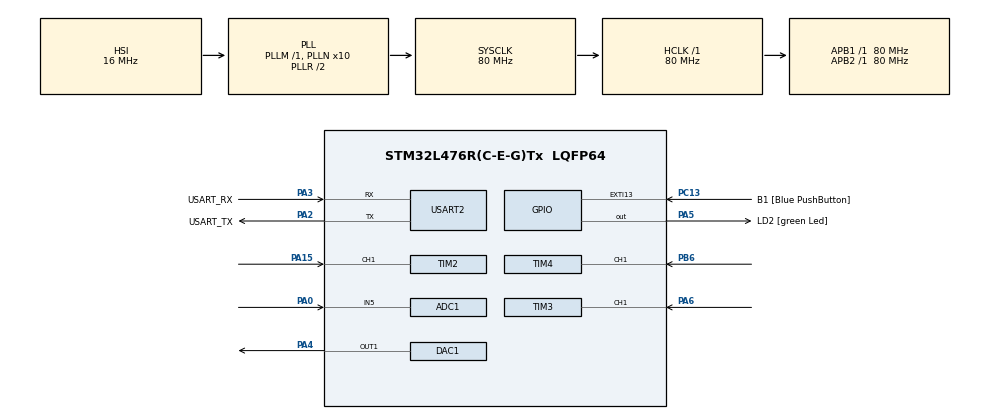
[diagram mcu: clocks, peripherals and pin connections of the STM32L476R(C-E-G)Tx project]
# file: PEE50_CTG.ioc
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Mcu.Family=STM32L4
PA2.GPIO_PuPd=GPIO_NOPULL
RCC.CortexFreq_Value=80000000
TIM2.Channel-Input_Capture1_from_TI1=TIM_CHANNEL_1
PH0-OSC_IN\ (PH0).Signal=RCC_OSC_IN
PA3.GPIO_PuPd=GPIO_NOPULL
PA2.GPIO_Speed=GPIO_SPEED_FREQ_VERY_HIGH
PA15\ (JTDI).Signal=S_TIM2_CH1
PC13.GPIO_Label=B1 [Blue PushButton]
PA3.GPIO_Speed=GPIO_SPEED_FREQ_VERY_HIGH
RCC.SYSCLKSource=RCC_SYSCLKSOURCE_PLLCLK
ProjectManager.StackSize=0x400
PB3\ (JTDO-TRACESWO).Signal=SYS_JTDO-SWO
TIM4.Channel-Input_Capture1_from_TI1=TIM_CHANNEL_1
NVIC.DMA1_Channel3_IRQn=true\:0\:0\:false\:false\:true\:false\:true
PA14\ (JTCK-SWCLK).Signal=SYS_JTCK-SWCLK
Dma.DAC_CH1.0.Instance=DMA1_Channel3
RCC.HCLKFreq_Value=80000000
RCC.APB2TimFreq_Value=80000000
TIM3.Period=20000
PB6.Signal=S_TIM4_CH1
RCC.AHBFreq_Value=80000000
RCC.PREFETCH_ENABLE=1
TIM3.ClockDivision=TIM_CLOCKDIVISION_DIV4
ADC1.Channel-0\#ChannelRegularConversion=ADC_CHANNEL_5
RCC.HSE_VALUE=8000000
TIM3.Channel-Input_Capture1_from_TI1=TIM_CHANNEL_1
USART2.VirtualMode-Asynchronous=VM_ASYNC
TIM3.Prescaler=0
PA5.GPIO_PuPd=GPIO_NOPULL
PC13.GPIO_PuPd=GPIO_NOPULL
Dma.DAC_CH1.0.PeriphDataAlignment=DMA_PDATAALIGN_WORD
SH.S_TIM3_CH1.0=TIM3_CH1,Input_Capture1_from_TI1
TIM4.Period=8000
ADC1.SamplingTime-0\#ChannelRegularConversion=ADC_SAMPLETIME_2CYCLES_5
PA0.Signal=ADCx_IN5
Mcu.Package=LQFP64
TIM2.Prescaler=0
TIM3.ICPrescaler-Input_Capture1_from_TI1=TIM_ICPSC_DIV1
PA6.Signal=S_TIM3_CH1
PA2.GPIO_Label=USART_TX
Dma.DAC_CH1.0.Priority=DMA_PRIORITY_HIGH
TIM2.TIM_MasterOutputTrigger=TIM_TRGO_UPDATE
SH.S_TIM4_CH1.0=TIM4_CH1,Input_Capture1_from_TI1
RCC.APB1TimFreq_Value=80000000
PA13\ (JTMS-SWDIO).Signal=SYS_JTMS-SWDIO
Dma.Request0=DAC_CH1
VP_TIM3_VS_ClockSourceINT.Mode=Internal
PA3.Signal=USART2_RX
PA2.GPIO_Mode=GPIO_MODE_AF_PP
RCC.MSI_VALUE=4000000
RCC.PLLSourceVirtual=RCC_PLLSOURCE_HSI
Dma.DAC_CH1.0.Mode=DMA_CIRCULAR
Dma.DAC_CH1.0.MemDataAlignment=DMA_MDATAALIGN_WORD
TIM4.AutoReloadPreload=TIM_AUTORELOAD_PRELOAD_ENABLE
SH.S_TIM2_CH1.0=TIM2_CH1,Input_Capture1_from_TI1
ADC1.Rank-0\#ChannelRegularConversion=1
TIM3.AutoReloadPreload=TIM_AUTORELOAD_PRELOAD_ENABLE
ADC1.OffsetNumber-0\#ChannelRegularConversion=ADC_OFFSET_NONE
PC13.Signal=GPXTI13
PC15-OSC32_OUT\ (PC15).Signal=RCC_OSC32_OUT
PA14\ (JTCK-SWCLK).GPIO_Label=TCK
PB3\ (JTDO-TRACESWO).GPIO_Label=SWO
PH1-OSC_OUT\ (PH1).Signal=RCC_OSC_OUT
PA3.Mode=Asynchronous
Dma.DAC_CH1.0.Direction=DMA_MEMORY_TO_PERIPH
ProjectManager.TargetToolchain=STM32CubeIDE
PA3.GPIO_Mode=GPIO_MODE_AF_PP
SH.COMP_DAC11_group.0=DAC1_OUT1,DAC_OUT1
Dma.DAC_CH1.0.MemInc=DMA_MINC_ENABLE
RCC.USBFreq_Value=64000000
TIM4.Prescaler=20000
RCC.LSE_VALUE=32768
PA5.Signal=GPIO_Output
board=NUCLEO-L476RG
RCC.VCOOutputFreq_Value=160000000
NVIC.TIM3_IRQn=true\:0\:0\:false\:false\:true\:true\:true
RCC.APB2Freq_Value=80000000
PA5.GPIO_ModeDefaultOutputPP=GPIO_MODE_OUTPUT_PP
PA13\ (JTMS-SWDIO).GPIO_Label=TMS
TIM4.ClockDivision=TIM_CLOCKDIVISION_DIV4
VP_TIM2_VS_ClockSourceINT.Mode=Internal
RCC.ADCFreq_Value=64000000
DAC1.DAC_Trigger-DAC_OUT1=DAC_TRIGGER_T2_TRGO
TIM2.Period=24
Mcu.Name=STM32L476R(C-E-G)Tx
PA2.Signal=USART2_TX
Dma.DAC_CH1.0.PeriphInc=DMA_PINC_DISABLE
PA4.Signal=COMP_DAC11_group
RCC.SYSCLKFreq_VALUE=80000000
ADC1.master=1
PA5.GPIO_Label=LD2 [green Led]
PC13.GPIO_ModeDefaultEXTI=GPIO_MODE_IT_FALLING
PC14-OSC32_IN\ (PC14).Signal=RCC_OSC32_IN
ProjectManager.HeapSize=0x200
RCC.HSI_VALUE=16000000
SH.ADCx_IN5.0=ADC1_IN5,IN5-Single-Ended
VP_TIM4_VS_ClockSourceINT.Mode=Internal
PA5.GPIO_Speed=GPIO_SPEED_FREQ_LOW
NVIC.PriorityGroup=NVIC_PRIORITYGROUP_4
ADC1.NbrOfConversionFlag=1
RCC.PLLN=10
PA2.Mode=Asynchronous
TIM2.AutoReloadPreload=TIM_AUTORELOAD_PRELOAD_ENABLE
NVIC.TIM4_IRQn=true\:0\:0\:false\:false\:true\:true\:true
RCC.APB1Freq_Value=80000000
PA3.GPIO_Label=USART_RX

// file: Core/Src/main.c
/* USER CODE BEGIN Header */
/**
  ******************************************************************************
  * @file           : main.c
  * @brief          : Main program body
  ******************************************************************************
  * @attention
  *
  * <h2><center>&copy; Copyright (c) 2021 STMicroelectronics.
  * All rights reserved.</center></h2>
  *
  * This software component is licensed by ST under BSD 3-Clause license,
  * the "License"; You may not use this file except in compliance with the
  * License. You may obtain a copy of the License at:
  *                        opensource.org/licenses/BSD-3-Clause
  *
  ******************************************************************************
  */
/* USER CODE END Header */
#include "main.h"

/* USER CODE BEGIN Includes */
#include <ctg.h>
#include <stdio.h>
#include <string.h>
#include <stdbool.h>
#include <stdlib.h>
/* USER CODE END Includes */

/* USER CODE BEGIN PD */

/* timeconstants in ms for calculating averages */
#define FREQ 38
#define AVG	100

/* USER CODE END PD */

ADC_HandleTypeDef hadc1;

DAC_HandleTypeDef hdac1;
DMA_HandleTypeDef hdma_dac_ch1;

TIM_HandleTypeDef htim2;
TIM_HandleTypeDef htim3;
TIM_HandleTypeDef htim4;

UART_HandleTypeDef huart2;

/* USER CODE BEGIN PV */

/* queue structure variables */
struct queue* filter;
struct queue* center;

/* voltage variables */
float voltage = 0;
float avg_voltage = 0;
float center_voltage = 0;

/* time-keeping variables */
uint32_t new_time = 0;
uint32_t current_time = 0;
uint32_t previous_time = 0;

bool bHeart = false;
bool bDelayed_start = true;

int i = 0;

/* bpm variables */
uint32_t bpm = 0;

/* USER CODE END PV */

void SystemClock_Config(void);
static void MX_GPIO_Init(void);
static void MX_DMA_Init(void);
static void MX_DAC1_Init(void);
static void MX_TIM2_Init(void);
static void MX_USART2_UART_Init(void);
static void MX_ADC1_Init(void);
static void MX_TIM3_Init(void);
static void MX_TIM4_Init(void);
/* USER CODE BEGIN PFP */

/* Timer interrupt for heart rate and respitory rate */
void HAL_TIM_PeriodElapsedCallback(TIM_HandleTypeDef *htim)
{
	/* Every 1ms it will go in this interrupt. */
	/* uart send rate is equal to the timer 4 freq */
	if(htim == &htim4) { bHeart = true; }

	/* read adc */
	ctg_read_adc(&hadc1,&voltage);

	/* add voltage to queue and calculate average */
	shift_queue(filter, voltage);
	get_average(filter, &avg_voltage);

	i++;

	/* add voltage every 20 ms to calculate center average */
	if(i % 20 == 0) { shift_queue(center, avg_voltage); }

	/* raw heartsignal needs to be centered at 0V first.
	 * add a 2 second delay in sending data
	 * after two seconds the signal is centered */
	if(i % 2000 == 0 && bDelayed_start) { bDelayed_start = false; i = 0; }

	/* calculate average voltage */
	get_average(center, &center_voltage);

	/* center voltage to 0 V */
	avg_voltage -= center_voltage;

#define A 0
#if A == 0
	char array[14];
	sprintf(array,"%.2f",avg_voltage);
	ctg_print(&huart2, array);
	strncpy(array,"            ",14);
#elif A == 1
	char array[14];
	sprintf(array,"%.4f",avg_max);
	ctg_print(&huart2, array);
	strncpy(array,"            ",14);
#endif

	if(avg_voltage > 0.3)
	{
		new_time = HAL_GetTick();
		current_time = new_time - previous_time;
		if(current_time > 500)
		{
			previous_time = new_time;
			if(bHeart)
			{
				bpm = (1.0 / (current_time / 1000.0) ) * 60;
				char array[7];
				sprintf(array,"H%lu",bpm);
				ctg_print(&huart2, array);
				strncpy(array,"",7);
				bpm = 0;
				bHeart = false;
			}
		}
	}
}
/* USER CODE END PFP */

int main(void)
{
  /* USER CODE BEGIN 1 */
  filter = create_queue(FREQ);
  center = create_queue(AVG);
  /* USER CODE END 1 */

  /* MCU Configuration--------------------------------------------------------*/

  /* Reset of all peripherals, Initializes the Flash interface and the Systick. */
  HAL_Init();

  /* Configure the system clock */
  SystemClock_Config();

  /* Initialize all configured peripherals */
  MX_GPIO_Init();
  MX_DMA_Init();
  MX_DAC1_Init();
  MX_TIM2_Init();
  MX_USART2_UART_Init();
  MX_ADC1_Init();
  MX_TIM3_Init();
  MX_TIM4_Init();
  /* USER CODE BEGIN 2 */

  /* start dac with dma */
  HAL_DAC_Start_DMA(&hdac1, DAC_CHANNEL_1, (uint32_t*)sinewave32, 32, DAC_ALIGN_12B_R);

  /* start timer for dma */
  HAL_TIM_Base_Start_IT(&htim2);

  /* start timer with interrupt */
  HAL_TIM_Base_Start_IT(&htim3);

  /* start timer for uart sending*/
  HAL_TIM_Base_Start_IT(&htim4);

  /* test print */
  ctg_print(&huart2, "PEE50 cardiotacograph");

  /* USER CODE END 2 */

  /* Infinite loop */
  while (1)
  {

  }
}

void SystemClock_Config(void)
{
  RCC_OscInitTypeDef RCC_OscInitStruct = {0};
  RCC_ClkInitTypeDef RCC_ClkInitStruct = {0};
  RCC_PeriphCLKInitTypeDef PeriphClkInit = {0};

  /** Initializes the RCC Oscillators according to the specified parameters
  * in the RCC_OscInitTypeDef structure.
  */
  RCC_OscInitStruct.OscillatorType = RCC_OSCILLATORTYPE_HSI;
  RCC_OscInitStruct.HSIState = RCC_HSI_ON;
  RCC_OscInitStruct.HSICalibrationValue = RCC_HSICALIBRATION_DEFAULT;
  RCC_OscInitStruct.PLL.PLLState = RCC_PLL_ON;
  RCC_OscInitStruct.PLL.PLLSource = RCC_PLLSOURCE_HSI;
  RCC_OscInitStruct.PLL.PLLM = 1;
  RCC_OscInitStruct.PLL.PLLN = 10;
  RCC_OscInitStruct.PLL.PLLP = RCC_PLLP_DIV7;
  RCC_OscInitStruct.PLL.PLLQ = RCC_PLLQ_DIV2;
  RCC_OscInitStruct.PLL.PLLR = RCC_PLLR_DIV2;
  if (HAL_RCC_OscConfig(&RCC_OscInitStruct) != HAL_OK)
  {
    Error_Handler();
  }
  /** Initializes the CPU, AHB and APB buses clocks
  */
  RCC_ClkInitStruct.ClockType = RCC_CLOCKTYPE_HCLK|RCC_CLOCKTYPE_SYSCLK
                              |RCC_CLOCKTYPE_PCLK1|RCC_CLOCKTYPE_PCLK2;
  RCC_ClkInitStruct.SYSCLKSource = RCC_SYSCLKSOURCE_PLLCLK;
  RCC_ClkInitStruct.AHBCLKDivider = RCC_SYSCLK_DIV1;
  RCC_ClkInitStruct.APB1CLKDivider = RCC_HCLK_DIV1;
  RCC_ClkInitStruct.APB2CLKDivider = RCC_HCLK_DIV1;

  if (HAL_RCC_ClockConfig(&RCC_ClkInitStruct, FLASH_LATENCY_4) != HAL_OK)
  {
    Error_Handler();
  }
  PeriphClkInit.PeriphClockSelection = RCC_PERIPHCLK_USART2|RCC_PERIPHCLK_ADC;
  PeriphClkInit.Usart2ClockSelection = RCC_USART2CLKSOURCE_PCLK1;
  PeriphClkInit.AdcClockSelection = RCC_ADCCLKSOURCE_PLLSAI1;
  PeriphClkInit.PLLSAI1.PLLSAI1Source = RCC_PLLSOURCE_HSI;
  PeriphClkInit.PLLSAI1.PLLSAI1M = 1;
  PeriphClkInit.PLLSAI1.PLLSAI1N = 8;
  PeriphClkInit.PLLSAI1.PLLSAI1P = RCC_PLLP_DIV7;
  PeriphClkInit.PLLSAI1.PLLSAI1Q = RCC_PLLQ_DIV2;
  PeriphClkInit.PLLSAI1.PLLSAI1R = RCC_PLLR_DIV2;
  PeriphClkInit.PLLSAI1.PLLSAI1ClockOut = RCC_PLLSAI1_ADC1CLK;
  if (HAL_RCCEx_PeriphCLKConfig(&PeriphClkInit) != HAL_OK)
  {
    Error_Handler();
  }
  /** Configure the main internal regulator output voltage
  */
  if (HAL_PWREx_ControlVoltageScaling(PWR_REGULATOR_VOLTAGE_SCALE1) != HAL_OK)
  {
    Error_Handler();
  }
}

static void MX_ADC1_Init(void)
{

  ADC_MultiModeTypeDef multimode = {0};
  ADC_ChannelConfTypeDef sConfig = {0};

  /** Common config
  */
  hadc1.Instance = ADC1;
  hadc1.Init.ClockPrescaler = ADC_CLOCK_ASYNC_DIV1;
  hadc1.Init.Resolution = ADC_RESOLUTION_12B;
  hadc1.Init.DataAlign = ADC_DATAALIGN_RIGHT;
  hadc1.Init.ScanConvMode = ADC_SCAN_DISABLE;
  hadc1.Init.EOCSelection = ADC_EOC_SINGLE_CONV;
  hadc1.Init.LowPowerAutoWait = DISABLE;
  hadc1.Init.ContinuousConvMode = DISABLE;
  hadc1.Init.NbrOfConversion = 1;
  hadc1.Init.DiscontinuousConvMode = DISABLE;
  hadc1.Init.ExternalTrigConv = ADC_SOFTWARE_START;
  hadc1.Init.ExternalTrigConvEdge = ADC_EXTERNALTRIGCONVEDGE_NONE;
  hadc1.Init.DMAContinuousRequests = DISABLE;
  hadc1.Init.Overrun = ADC_OVR_DATA_PRESERVED;
  hadc1.Init.OversamplingMode = DISABLE;
  if (HAL_ADC_Init(&hadc1) != HAL_OK)
  {
    Error_Handler();
  }
  /** Configure the ADC multi-mode
  */
  multimode.Mode = ADC_MODE_INDEPENDENT;
  if (HAL_ADCEx_MultiModeConfigChannel(&hadc1, &multimode) != HAL_OK)
  {
    Error_Handler();
  }
  /** Configure Regular Channel
  */
  sConfig.Channel = ADC_CHANNEL_5;
  sConfig.Rank = ADC_REGULAR_RANK_1;
  sConfig.SamplingTime = ADC_SAMPLETIME_2CYCLES_5;
  sConfig.SingleDiff = ADC_SINGLE_ENDED;
  sConfig.OffsetNumber = ADC_OFFSET_NONE;
  sConfig.Offset = 0;
  if (HAL_ADC_ConfigChannel(&hadc1, &sConfig) != HAL_OK)
  {
    Error_Handler();
  }

}

static void MX_DAC1_Init(void)
{

  DAC_ChannelConfTypeDef sConfig = {0};

  /** DAC Initialization
  */
  hdac1.Instance = DAC1;
  if (HAL_DAC_Init(&hdac1) != HAL_OK)
  {
    Error_Handler();
  }
  /** DAC channel OUT1 config
  */
  sConfig.DAC_SampleAndHold = DAC_SAMPLEANDHOLD_DISABLE;
  sConfig.DAC_Trigger = DAC_TRIGGER_T2_TRGO;
  sConfig.DAC_OutputBuffer = DAC_OUTPUTBUFFER_ENABLE;
  sConfig.DAC_ConnectOnChipPeripheral = DAC_CHIPCONNECT_DISABLE;
  sConfig.DAC_UserTrimming = DAC_TRIMMING_FACTORY;
  if (HAL_DAC_ConfigChannel(&hdac1, &sConfig, DAC_CHANNEL_1) != HAL_OK)
  {
    Error_Handler();
  }

}

static void MX_TIM2_Init(void)
{

  TIM_ClockConfigTypeDef sClockSourceConfig = {0};
  TIM_MasterConfigTypeDef sMasterConfig = {0};
  TIM_IC_InitTypeDef sConfigIC = {0};

  htim2.Instance = TIM2;
  htim2.Init.Prescaler = 0;
  htim2.Init.CounterMode = TIM_COUNTERMODE_UP;
  htim2.Init.Period = 24;
  htim2.Init.ClockDivision = TIM_CLOCKDIVISION_DIV1;
  htim2.Init.AutoReloadPreload = TIM_AUTORELOAD_PRELOAD_ENABLE;
  if (HAL_TIM_Base_Init(&htim2) != HAL_OK)
  {
    Error_Handler();
  }
  sClockSourceConfig.ClockSource = TIM_CLOCKSOURCE_INTERNAL;
  if (HAL_TIM_ConfigClockSource(&htim2, &sClockSourceConfig) != HAL_OK)
  {
    Error_Handler();
  }
  if (HAL_TIM_IC_Init(&htim2) != HAL_OK)
  {
    Error_Handler();
  }
  sMasterConfig.MasterOutputTrigger = TIM_TRGO_UPDATE;
  sMasterConfig.MasterSlaveMode = TIM_MASTERSLAVEMODE_DISABLE;
  if (HAL_TIMEx_MasterConfigSynchronization(&htim2, &sMasterConfig) != HAL_OK)
  {
    Error_Handler();
  }
  sConfigIC.ICPolarity = TIM_INPUTCHANNELPOLARITY_RISING;
  sConfigIC.ICSelection = TIM_ICSELECTION_DIRECTTI;
  sConfigIC.ICPrescaler = TIM_ICPSC_DIV1;
  sConfigIC.ICFilter = 0;
  if (HAL_TIM_IC_ConfigChannel(&htim2, &sConfigIC, TIM_CHANNEL_1) != HAL_OK)
  {
    Error_Handler();
  }

}

static void MX_TIM3_Init(void)
{

  TIM_ClockConfigTypeDef sClockSourceConfig = {0};
  TIM_MasterConfigTypeDef sMasterConfig = {0};
  TIM_IC_InitTypeDef sConfigIC = {0};

  htim3.Instance = TIM3;
  htim3.Init.Prescaler = 0;
  htim3.Init.CounterMode = TIM_COUNTERMODE_UP;
  htim3.Init.Period = 20000;
  htim3.Init.ClockDivision = TIM_CLOCKDIVISION_DIV4;
  htim3.Init.AutoReloadPreload = TIM_AUTORELOAD_PRELOAD_ENABLE;
  if (HAL_TIM_Base_Init(&htim3) != HAL_OK)
  {
    Error_Handler();
  }
  sClockSourceConfig.ClockSource = TIM_CLOCKSOURCE_INTERNAL;
  if (HAL_TIM_ConfigClockSource(&htim3, &sClockSourceConfig) != HAL_OK)
  {
    Error_Handler();
  }
  if (HAL_TIM_IC_Init(&htim3) != HAL_OK)
  {
    Error_Handler();
  }
  sMasterConfig.MasterOutputTrigger = TIM_TRGO_RESET;
  sMasterConfig.MasterSlaveMode = TIM_MASTERSLAVEMODE_DISABLE;
  if (HAL_TIMEx_MasterConfigSynchronization(&htim3, &sMasterConfig) != HAL_OK)
  {
    Error_Handler();
  }
  sConfigIC.ICPolarity = TIM_INPUTCHANNELPOLARITY_RISING;
  sConfigIC.ICSelection = TIM_ICSELECTION_DIRECTTI;
  sConfigIC.ICPrescaler = TIM_ICPSC_DIV1;
  sConfigIC.ICFilter = 0;
  if (HAL_TIM_IC_ConfigChannel(&htim3, &sConfigIC, TIM_CHANNEL_1) != HAL_OK)
  {
    Error_Handler();
  }

}

static void MX_TIM4_Init(void)
{

  TIM_ClockConfigTypeDef sClockSourceConfig = {0};
  TIM_MasterConfigTypeDef sMasterConfig = {0};
  TIM_IC_InitTypeDef sConfigIC = {0};

  htim4.Instance = TIM4;
  htim4.Init.Prescaler = 20000;
  htim4.Init.CounterMode = TIM_COUNTERMODE_UP;
  htim4.Init.Period = 4000; //default 8000
  htim4.Init.ClockDivision = TIM_CLOCKDIVISION_DIV4;
  htim4.Init.AutoReloadPreload = TIM_AUTORELOAD_PRELOAD_ENABLE;
  if (HAL_TIM_Base_Init(&htim4) != HAL_OK)
  {
    Error_Handler();
  }
  sClockSourceConfig.ClockSource = TIM_CLOCKSOURCE_INTERNAL;
  if (HAL_TIM_ConfigClockSource(&htim4, &sClockSourceConfig) != HAL_OK)
  {
    Error_Handler();
  }
  if (HAL_TIM_IC_Init(&htim4) != HAL_OK)
  {
    Error_Handler();
  }
  sMasterConfig.MasterOutputTrigger = TIM_TRGO_RESET;
  sMasterConfig.MasterSlaveMode = TIM_MASTERSLAVEMODE_DISABLE;
  if (HAL_TIMEx_MasterConfigSynchronization(&htim4, &sMasterConfig) != HAL_OK)
  {
    Error_Handler();
  }
  sConfigIC.ICPolarity = TIM_INPUTCHANNELPOLARITY_RISING;
  sConfigIC.ICSelection = TIM_ICSELECTION_DIRECTTI;
  sConfigIC.ICPrescaler = TIM_ICPSC_DIV1;
  sConfigIC.ICFilter = 0;
  if (HAL_TIM_IC_ConfigChannel(&htim4, &sConfigIC, TIM_CHANNEL_1) != HAL_OK)
  {
    Error_Handler();
  }

}

static void MX_USART2_UART_Init(void)
{

  huart2.Instance = USART2;
  huart2.Init.BaudRate = 115200;
  huart2.Init.WordLength = UART_WORDLENGTH_8B;
  huart2.Init.StopBits = UART_STOPBITS_1;
  huart2.Init.Parity = UART_PARITY_NONE;
  huart2.Init.Mode = UART_MODE_TX_RX;
  huart2.Init.HwFlowCtl = UART_HWCONTROL_NONE;
  huart2.Init.OverSampling = UART_OVERSAMPLING_16;
  huart2.Init.OneBitSampling = UART_ONE_BIT_SAMPLE_DISABLE;
  huart2.AdvancedInit.AdvFeatureInit = UART_ADVFEATURE_NO_INIT;
  if (HAL_UART_Init(&huart2) != HAL_OK)
  {
    Error_Handler();
  }

}

static void MX_DMA_Init(void)
{

  /* DMA controller clock enable */
  __HAL_RCC_DMA1_CLK_ENABLE();

  /* DMA interrupt init */
  /* DMA1_Channel3_IRQn interrupt configuration */
  HAL_NVIC_SetPriority(DMA1_Channel3_IRQn, 0, 0);
  HAL_NVIC_EnableIRQ(DMA1_Channel3_IRQn);

}

static void MX_GPIO_Init(void)
{
  GPIO_InitTypeDef GPIO_InitStruct = {0};

  /* GPIO Ports Clock Enable */
  __HAL_RCC_GPIOC_CLK_ENABLE();
  __HAL_RCC_GPIOH_CLK_ENABLE();
  __HAL_RCC_GPIOA_CLK_ENABLE();
  __HAL_RCC_GPIOB_CLK_ENABLE();

  /*Configure GPIO pin Output Level */
  HAL_GPIO_WritePin(LD2_GPIO_Port, LD2_Pin, GPIO_PIN_RESET);

  /*Configure GPIO pin : B1_Pin */
  GPIO_InitStruct.Pin = B1_Pin;
  GPIO_InitStruct.Mode = GPIO_MODE_IT_FALLING;
  GPIO_InitStruct.Pull = GPIO_NOPULL;
  HAL_GPIO_Init(B1_GPIO_Port, &GPIO_InitStruct);

  /*Configure GPIO pin : LD2_Pin */
  GPIO_InitStruct.Pin = LD2_Pin;
  GPIO_InitStruct.Mode = GPIO_MODE_OUTPUT_PP;
  GPIO_InitStruct.Pull = GPIO_NOPULL;
  GPIO_InitStruct.Speed = GPIO_SPEED_FREQ_LOW;
  HAL_GPIO_Init(LD2_GPIO_Port, &GPIO_InitStruct);

}

void Error_Handler(void)
{
  __disable_irq();
  while (1)
  {
  }
}

/************************ (C) COPYRIGHT STMicroelectronics *****END OF FILE****/
